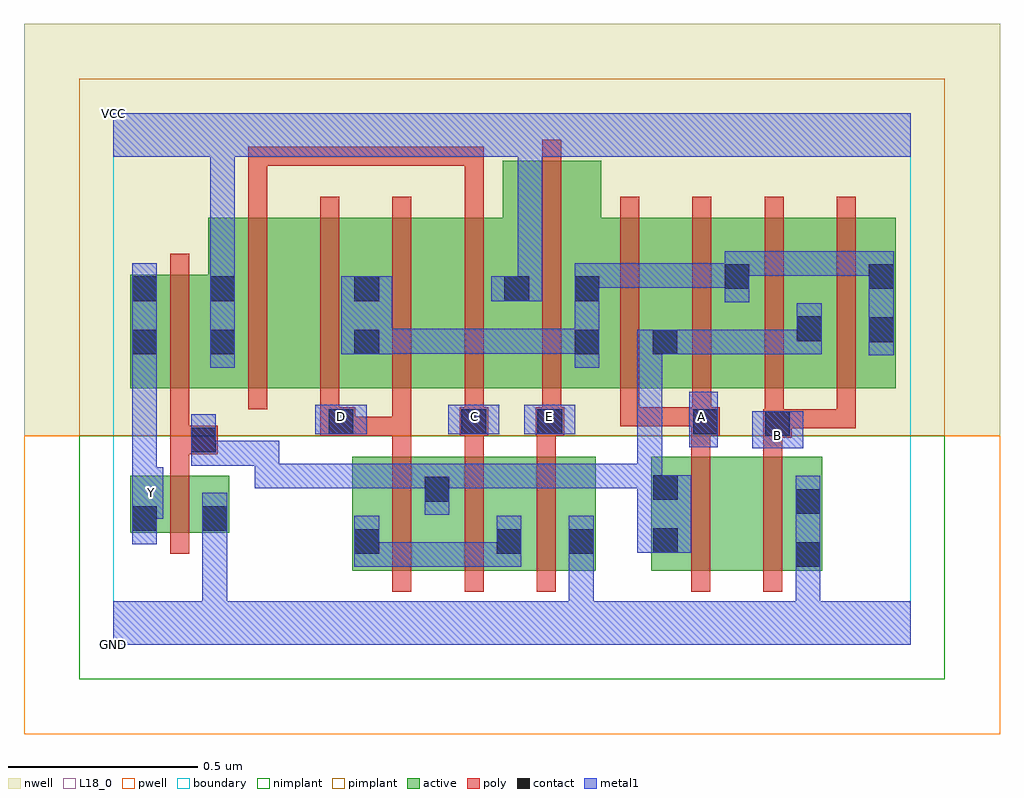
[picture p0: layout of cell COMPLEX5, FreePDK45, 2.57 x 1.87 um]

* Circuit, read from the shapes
.subckt COMPLEX5 A B C D E GND VCC Y
M1 GND n1 Y VSUBS nfet w=0.15u l=0.05u
M2 n1 D n2 VSUBS nfet w=0.3u l=0.05u
M3 n2 C n1 VSUBS nfet w=0.3u l=0.05u
M4 GND E n2 VSUBS nfet w=0.3u l=0.05u
M5 n3 A n1 VSUBS nfet w=0.3u l=0.05u
M6 GND B n3 VSUBS nfet w=0.3u l=0.05u
M7 VCC n1 Y n4 pfet w=0.3u l=0.05u
M8 n5 C VCC n4 pfet w=0.45u l=0.05u
M9 n6 D n5 n4 pfet w=0.45u l=0.05u
M10 n7 D n6 n4 pfet w=0.45u l=0.05u
M11 VCC C n7 n4 pfet w=0.45u l=0.05u
M12 n6 E VCC n4 pfet w=0.6u l=0.05u
M13 n1 A n6 n4 pfet w=0.45u l=0.05u m=2
M14 n1 B n6 n4 pfet w=0.45u l=0.05u m=2
.ends

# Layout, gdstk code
import gdstk
lib = gdstk.Library(unit=1e-6, precision=1e-09)
def R(c, l, rs):  # rectangles x0, y0, x1, y1
    for r in rs: c.add(gdstk.rectangle(r[:2], r[2:], *l))
def A(c, l, x, y, w, h, nx, ny, dx, dy):  # array of equal rectangles
    R(c, l, [(x+i*dx, y+j*dy, x+i*dx+w, y+j*dy+h) for i in range(nx) for j in range(ny)])
active = (1, 0)
pwell = (2, 0)
nwell = (3, 0)
nimplant = (4, 0)
pimplant = (5, 0)
poly = (9, 0)
contact = (10, 0)
metal1 = (11, 0)
L18_0 = (18, 0)
boundary = (235, 0)

complex5 = lib.new_cell('COMPLEX5')
A(complex5, active, 1.415, 0.675, 0.265, 0.45, 3, 1, 0.19, 0)
R(complex5, active, [(0.63,0.195,0.705,0.495), (0.63,0.195,0.89,0.495), (0.815,0.195,1.08,0.495), (0.815,0.195,0.89,0.447), (1.005,0.195,1.27,0.495), (1.005,0.195,1.08,0.392), (1.195,0.195,1.27,0.495), (1.417,0.195,1.642,0.495), (1.417,0.195,1.522,0.495), (1.642,0.195,1.867,0.495), (1.792,0.195,1.867,0.495), (0.045,0.295,0.12,0.445), (0.045,0.295,0.305,0.445), (0.23,0.295,0.305,0.445), (0.045,0.675,0.12,0.975), (0.045,0.675,0.325,0.975), (0.25,0.675,0.475,1.125), (0.25,0.675,0.325,1.125), (0.475,0.675,0.705,1.125), (0.63,0.675,0.855,1.125), (0.63,0.675,0.705,1.125), (0.855,0.675,1.1,1.125), (1.025,0.675,1.285,1.275), (1.21,0.675,1.49,1.125), (1.21,0.675,1.285,1.2), (1.415,0.675,1.49,1.055), (1.795,0.675,1.87,1.055), (1.985,0.675,2.06,1.055), (1.605,0.702,1.68,1.055), (1.025,0.722,1.1,1.055)])
R(complex5, pwell, [(-0.235,-0.235,2.335,0.55)])
R(complex5, nwell, [(-0.235,0.55,2.335,1.635)])
R(complex5, nimplant, [(-0.09,-0.09,2.19,0.55)])
R(complex5, pimplant, [(-0.09,0.55,2.19,1.49)])
A(complex5, poly, 0.735, 0.14, 0.05, 0.41, 3, 1, 0.19, 0)
A(complex5, poly, 0.735, 0.5, 0.05, 0.1, 3, 1, 0.19, 0)
A(complex5, poly, 0.925, 0.575, 0.05, 0.095, 3, 1, 0.205, 0)
A(complex5, poly, 0.355, 0.62, 0.05, 0.56, 4, 1, 0.19, 0)
A(complex5, poly, 1.335, 0.62, 0.05, 0.56, 4, 1, 0.19, 0)
R(complex5, poly, [(1.522,0.14,1.572,0.55), (1.712,0.14,1.762,0.55), (0.15,0.24,0.2,0.5), (0.15,0.45,0.2,0.552), (1.522,0.5,1.572,0.6), (1.712,0.5,1.762,0.595), (0.15,0.502,0.275,0.577), (0.15,0.527,0.2,0.67), (1.712,0.545,1.787,0.62), (0.545,0.55,0.637,0.625), (0.587,0.55,0.785,0.6), (0.735,0.55,0.785,0.6), (0.735,0.55,0.785,0.6), (0.735,0.55,0.785,0.6), (0.735,0.55,0.785,0.67), (0.912,0.55,0.987,0.625), (1.112,0.55,1.187,0.625), (1.522,0.55,1.597,0.625), (1.715,0.57,1.765,0.67), (1.737,0.57,1.955,0.62), (1.737,0.57,1.787,0.62), (1.737,0.57,1.787,0.62), (1.905,0.57,1.955,0.67), (1.905,0.57,1.955,0.62), (0.545,0.575,0.595,0.67), (1.335,0.575,1.385,0.625), (1.335,0.575,1.385,0.625), (1.335,0.575,1.385,0.625), (1.335,0.575,1.572,0.625), (1.525,0.575,1.575,0.67), (0.15,0.62,0.2,1.03), (1.13,0.62,1.18,1.33), (0.355,1.13,0.405,1.312), (0.925,1.13,0.975,1.312), (0.355,1.262,0.405,1.312), (0.355,1.262,0.405,1.312), (0.355,1.262,0.405,1.312), (0.355,1.262,0.652,1.312), (0.602,1.262,0.652,1.312), (0.602,1.262,0.652,1.312), (0.602,1.262,0.652,1.312), (0.602,1.262,0.785,1.312), (0.735,1.262,0.785,1.312), (0.735,1.262,0.975,1.312), (0.925,1.262,0.975,1.312), (0.925,1.262,0.975,1.312), (0.925,1.262,0.975,1.312)])
R(complex5, contact, [(1.797,0.205,1.862,0.27), (0.635,0.24,0.7,0.305), (1.01,0.24,1.075,0.305), (1.2,0.24,1.265,0.305), (1.422,0.242,1.487,0.307), (0.05,0.3,0.115,0.365), (0.235,0.3,0.3,0.365), (1.797,0.345,1.862,0.41), (0.82,0.377,0.885,0.442), (1.422,0.382,1.487,0.447), (0.205,0.507,0.27,0.572), (1.717,0.55,1.782,0.615), (0.567,0.555,0.632,0.62), (0.917,0.555,0.982,0.62), (1.117,0.555,1.182,0.62), (1.527,0.555,1.592,0.62), (0.05,0.765,0.115,0.83), (0.255,0.765,0.32,0.83), (0.635,0.765,0.7,0.83), (1.215,0.765,1.28,0.83), (1.42,0.765,1.485,0.83), (1.99,0.797,2.055,0.862), (1.8,0.8,1.865,0.865), (0.05,0.905,0.115,0.97), (0.255,0.905,0.32,0.97), (0.635,0.905,0.7,0.97), (1.03,0.905,1.095,0.97), (1.215,0.905,1.28,0.97), (1.61,0.937,1.675,1.002), (1.99,0.937,2.055,1.002)])
R(complex5, metal1, [(0,0,2.1,0.115), (0.235,0.05,0.3,0.115), (0.235,0.05,0.3,0.115), (0.235,0.05,0.3,0.115), (0.235,0.05,0.3,0.115), (0.235,0.05,0.3,0.33), (1.2,0.05,1.265,0.115), (1.2,0.05,1.265,0.115), (1.2,0.05,1.265,0.27), (1.797,0.05,1.862,0.235), (1.797,0.17,1.862,0.235), (1.797,0.17,1.862,0.235), (1.797,0.17,1.862,0.445), (0.635,0.205,0.7,0.34), (0.635,0.205,0.712,0.27), (0.647,0.205,0.712,0.27), (0.647,0.205,0.872,0.27), (0.807,0.205,0.872,0.27), (0.807,0.205,0.872,0.27), (0.807,0.205,0.872,0.27), (0.807,0.205,1.075,0.27), (1.01,0.205,1.075,0.34), (1.2,0.205,1.265,0.34), (1.38,0.242,1.522,0.447), (0.05,0.265,0.115,0.4), (0.235,0.265,0.3,0.4), (0.05,0.332,0.115,0.397), (0.05,0.332,0.132,0.467), (0.82,0.342,0.885,0.477), (1.38,0.382,1.445,0.447), (1.38,0.382,1.445,0.83), (1.38,0.382,1.445,0.477), (0.05,0.402,0.115,0.795), (0.372,0.412,0.437,0.477), (0.372,0.412,0.575,0.477), (0.372,0.412,0.437,0.537), (0.51,0.412,0.575,0.477), (0.51,0.412,0.712,0.477), (0.647,0.412,0.712,0.477), (0.647,0.412,0.712,0.477), (0.647,0.412,0.712,0.477), (0.647,0.412,0.885,0.477), (0.82,0.412,0.885,0.477), (0.82,0.412,0.885,0.477), (0.82,0.412,1.022,0.477), (0.957,0.412,1.022,0.477), (0.957,0.412,1.16,0.477), (1.095,0.412,1.16,0.477), (1.095,0.412,1.16,0.477), (1.095,0.412,1.16,0.477), (1.095,0.412,1.445,0.477), (0.205,0.472,0.27,0.537), (0.205,0.472,0.27,0.537), (0.205,0.472,0.27,0.607), (0.205,0.472,0.437,0.537), (0.372,0.472,0.437,0.537), (0.372,0.472,0.437,0.537), (0.372,0.472,0.437,0.537), (1.682,0.517,1.817,0.615), (1.517,0.52,1.592,0.667), (0.532,0.555,0.667,0.632), (0.882,0.555,1.017,0.632), (1.082,0.555,1.217,0.632), (0.05,0.73,0.115,1.005), (0.255,0.73,0.32,1.005), (1.215,0.73,1.28,1.005), (1.99,0.762,2.055,1.037), (0.6,0.765,0.735,0.97), (1.38,0.765,1.445,0.83), (1.38,0.765,1.445,0.83), (1.38,0.765,1.52,0.83), (1.455,0.765,1.61,0.83), (1.545,0.765,1.61,0.83), (1.545,0.765,1.725,0.83), (1.66,0.765,1.725,0.83), (1.66,0.765,1.865,0.83), (1.8,0.765,1.865,0.83), (1.8,0.765,1.865,0.83), (1.8,0.765,1.865,0.9), (0.67,0.767,0.735,0.832), (0.67,0.767,0.735,0.832), (0.67,0.767,0.872,0.832), (0.807,0.767,0.872,0.832), (0.807,0.767,0.872,0.832), (0.807,0.767,0.872,0.832), (0.807,0.767,1.022,0.832), (0.957,0.767,1.022,0.832), (0.957,0.767,1.28,0.832), (1.215,0.767,1.28,0.832), (1.215,0.767,1.28,0.832), (1.61,0.902,1.675,1.037), (0.995,0.905,1.13,0.97), (1.065,0.905,1.13,1.35), (0.255,0.94,0.32,1.005), (0.255,0.94,0.32,1.005), (0.255,0.94,0.32,1.35), (1.215,0.94,1.28,1.005), (1.215,0.94,1.28,1.005), (1.215,0.94,1.417,1.005), (1.352,0.94,1.417,1.005), (1.352,0.94,1.417,1.005), (1.352,0.94,1.417,1.005), (1.352,0.94,1.582,1.005), (1.517,0.94,1.582,1.005), (1.517,0.94,1.675,1.005), (1.61,0.972,1.917,1.037), (1.852,0.972,1.917,1.037), (1.852,0.972,1.917,1.037), (1.852,0.972,1.917,1.037), (1.852,0.972,2.055,1.037), (1.99,0.972,2.055,1.037), (1.99,0.972,2.055,1.037), (0,1.285,2.1,1.4)])
R(complex5, L18_0, [(0,0,2.1,0.115), (0.235,0.05,0.3,0.115), (0.235,0.05,0.3,0.115), (0.235,0.05,0.3,0.115), (0.235,0.05,0.3,0.115), (0.235,0.05,0.3,0.33), (1.2,0.05,1.265,0.115), (1.2,0.05,1.265,0.115), (1.2,0.05,1.265,0.27), (1.797,0.05,1.862,0.235), (1.797,0.17,1.862,0.235), (1.797,0.17,1.862,0.235), (1.797,0.17,1.862,0.445), (1.2,0.205,1.265,0.34), (0.05,0.265,0.115,0.4), (0.235,0.265,0.3,0.4), (0.05,0.332,0.132,0.467), (0.05,0.332,0.115,0.397), (0.067,0.367,0.132,0.432), (0.05,0.402,0.115,0.795), (1.682,0.517,1.817,0.615), (1.717,0.517,1.782,0.582), (1.517,0.52,1.592,0.667), (0.532,0.555,0.667,0.632), (0.882,0.555,1.017,0.632), (1.082,0.555,1.217,0.632), (0.567,0.567,0.632,0.632), (0.917,0.567,0.982,0.632), (1.117,0.567,1.182,0.632), (1.517,0.567,1.582,0.632), (0.05,0.73,0.115,1.005), (0.255,0.73,0.32,1.005), (0.995,0.905,1.13,0.97), (1.065,0.905,1.13,1.35), (0.255,0.94,0.32,1.005), (0.255,0.94,0.32,1.005), (0.255,0.94,0.32,1.35), (0,1.285,2.1,1.4)])
R(complex5, boundary, [(0,0,2.1,1.4)])
complex5.add(gdstk.Label('A', (1.55,0.6), layer=11, texttype=0))
complex5.add(gdstk.Label('B', (1.75,0.55), layer=11, texttype=0))
complex5.add(gdstk.Label('C', (0.95,0.6), layer=11, texttype=0))
complex5.add(gdstk.Label('D', (0.6,0.6), layer=11, texttype=0))
complex5.add(gdstk.Label('E', (1.15,0.6), layer=11, texttype=0))
complex5.add(gdstk.Label('Y', (0.1,0.4), layer=11, texttype=0))
complex5.add(gdstk.Label('VCC', (0,1.4), layer=11, texttype=0))
complex5.add(gdstk.Label('GND', (0,0), layer=11, texttype=0))

lib.write_gds('COMPLEX5.gds')
